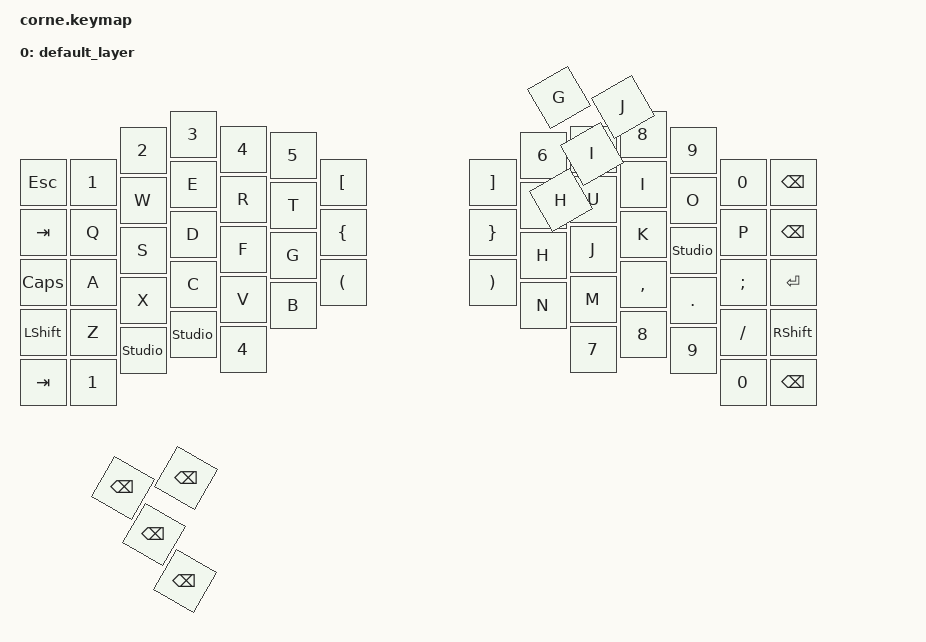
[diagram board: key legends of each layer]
/*
 * Copyright (c) 2020 The ZMK Contributors
 *
 * SPDX-License-Identifier: MIT
 */

#include <behaviors.dtsi>
#include <dt-bindings/zmk/keys.h>
#include <dt-bindings/zmk/bt.h>

/ {
        keymap {
                compatible = "zmk,keymap", "zmk,studio-config";

                default_layer {
// -----------------------------------------------------------------------------------------
// |  TAB |  Q  |  W  |  E  |  R  |  T  |   |  Y  |  U   |  I  |  O  |  P  | BSPC |
// | CTRL |  A  |  S  |  D  |  F  |  G  |   |  H  |  J   |  K  |  L  |  ;  |  '   |
// | SHFT |  Z  |  X  |  C  |  V  |  B  |   |  N  |  M   |  ,  |  .  |  /  | ESC  |
//                    | GUI | LWR | SPC |   | ENT | RSE  | ALT |
                        bindings = <
   &kp ESC   &kp N1  &kp N2   &kp N3     &kp N4    &kp N5    &kp LEFT_BRACKET                        &kp RIGHT_BRACKET      &kp N6  &kp N7  &kp N8     &kp N9   &kp N0     &kp BSPC  
   &kp TAB   &kp Q   &kp W    &kp E      &kp R     &kp T     &kp LEFT_BRACE                          &kp RIGHT_BRACE        &kp Y   &kp U   &kp I      &kp O    &kp P      &kp BSPC
   &kp CAPS  &kp A   &kp S    &kp D      &kp F     &kp G     &kp LEFT_PARENTHESIS                    &kp RIGHT_PARENTHESIS  &kp H   &kp J   &kp K      &studio_unlock    &kp SEMI   &kp ENTER
   &kp LSHFT &kp Z   &kp X    &kp C      &kp V     &kp B                                                                    &kp N   &kp M    &kp COMMA &kp DOT  &kp FSLH   &kp RSHFT
   &kp TAB   &kp N1  &studio_unlock   &studio_unlock     &kp N4                                                                                     &kp N7  &kp N8     &kp N9   &kp N0     &kp BSPC  
   &kp BSPC  &kp BSPC   &kp BSPC    &kp BSPC                                                                                                        &kp G      &kp H &kp I      &kp J 
                        >;
                };
                extra1 {
                        status = "reserved";
                };
                extra2 {
                        status = "reserved";
                };
                extra3 {
                        status = "reserved";
                };
                extra4 {
                        status = "reserved";
                };
                extra5 {
                        status = "reserved";
                };
                extra6 {
                        status = "reserved";
                };
                extra7 {
                        status = "reserved";
                };
                extra8 {
                        status = "reserved";
                };
//                lower_layer {
// -----------------------------------------------------------------------------------------
// |  TAB |  1  |xxxxxxzxccvbbbb  2  |  3  |  4  |  5  |   |  6  |  7  |  8  |  9  |  0  | BSPC |
// | BTCLR| BT1 | BT2 | BT3 | BT4 | BT5 |   | LFT | DWN |  UP | RGT |     |      |
// | SHFT |     |     |     |     |     |   |     |     |     |     |     |      |
//                    | GUI |     | SPC |   | ENT |     | ALT |
//                        bindings = <
//   &kp TAB    &kp N1       &kp N2       &kp N3       &kp N4       &kp N5         &kp N6   &kp N7   &kp N8 &kp N9    &kp N0 &kp BSPC
//   &bt BT_CLR &bt BT_SEL 0 &bt BT_SEL 1 &bt BT_SEL 2 &bt BT_SEL 3 &bt BT_SEL 4   &kp LEFT &kp DOWN &kp UP &kp RIGHT &trans &trans
//   &kp LSHFT  &trans       &trans       &trans       &trans       &trans         &trans   &trans   &trans &trans    &trans &trans
//                                    &kp LGUI     &trans       &kp SPACE      &kp RET  &trans   &kp RALT
 //                       >;
 //               };
//
//                raise_layer {
// -----------------------------------------------------------------------------------------
// |  TAB |  !  |  @  |  #  |  $  |  %  |   |  ^  |  &  |  *  |  (  |  )  | BSPC |
// | CTRL |     |     |     |     |     |   |  -  |  =  |  [  |  ]  |  \  |  `   |
// | SHFT |     |     |     |     |     |   |  _  |  +  |  {  |  }  | "|" |  ~   |
//                    | GUI |     | SPC |   | ENT |     | ALT |
//                        bindings = <
//   &kp  TAB  &kp EXCL &kp AT &kp HASH &kp DLLR &kp PRCNT   &kp CARET &kp AMPS  &kp ASTRK &kp LPAR &kp RPAR &kp BSPC
//   &kp LCTRL &trans   &trans &trans   &trans   &trans      &kp MINUS &kp EQUAL &kp LBKT  &kp RBKT &kp BSLH &kp GRAVE
//   &kp LSHFT &trans   &trans &trans   &trans   &trans      &kp UNDER &kp PLUS  &kp LBRC  &kp RBRC &kp PIPE &kp TILDE
//                             &kp LGUI &trans   &kp SPACE   &kp RET   &trans    &kp RALT
//                        >;
//                };
        };
};
